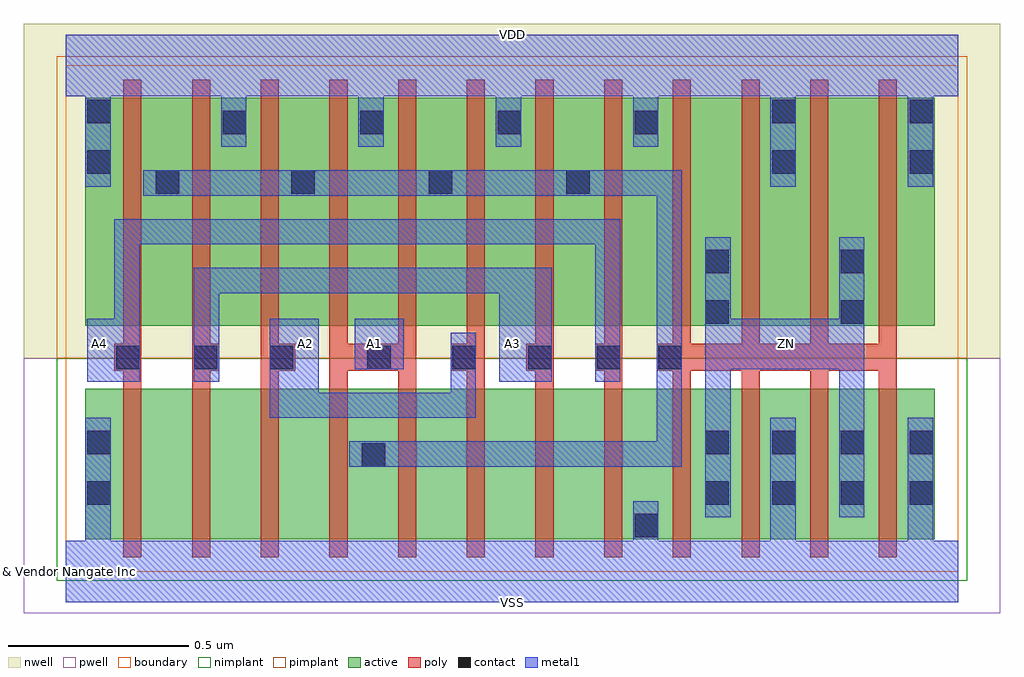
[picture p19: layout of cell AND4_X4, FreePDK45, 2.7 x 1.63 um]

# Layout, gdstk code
import gdstk
lib = gdstk.Library(unit=1e-6, precision=1e-10)
def R(c, l, rs):  # rectangles x0, y0, x1, y1
    for r in rs: c.add(gdstk.rectangle(r[:2], r[2:], *l))
def A(c, l, x, y, w, h, nx, ny, dx, dy):  # array of equal rectangles
    R(c, l, [(x+i*dx, y+j*dy, x+i*dx+w, y+j*dy+h) for i in range(nx) for j in range(ny)])
def P(c, l, *ps):  # polygons
    for p in ps: c.add(gdstk.Polygon(p, *l))
active = (1, 0)
pwell = (2, 0)
nwell = (3, 0)
nimplant = (4, 0)
pimplant = (5, 0)
poly = (9, 0)
contact = (10, 0)
metal1 = (11, 0)
boundary = (235, 0)

and4_x4 = lib.new_cell('AND4_X4')
R(and4_x4, active, [(0.055,0.09,2.405,0.505), (0.055,0.68,2.405,1.31)])
R(and4_x4, pwell, [(-0.115,-0.115,2.585,0.59)])
R(and4_x4, nwell, [(-0.115,0.59,2.585,1.515)])
R(and4_x4, nimplant, [(-0.025,-0.025,2.495,0.59)])
R(and4_x4, pimplant, [(-0.025,0.59,2.495,1.425)])
P(and4_x4, poly, [(0.16,0.04),(0.16,0.555),(0.135,0.555),(0.135,0.63),(0.16,0.63),(0.16,1.36),(0.21,1.36),(0.21,0.04)],
  [(0.35,0.04),(0.35,1.36),(0.4,1.36),(0.4,0.63),(0.425,0.63),(0.425,0.555),(0.4,0.555),(0.4,0.04)],
  [(0.54,0.04),(0.54,1.36),(0.59,1.36),(0.59,0.63),(0.635,0.63),(0.635,0.555),(0.59,0.555),(0.59,0.04)],
  [(0.73,0.04),(0.73,1.36),(0.78,1.36),(0.78,0.63),(0.92,0.63),(0.92,1.36),(0.97,1.36),(0.97,0.04),(0.92,0.04),(0.92,0.555),(0.78,0.555),(0.78,0.04)],
  [(1.11,0.04),(1.11,0.555),(1.065,0.555),(1.065,0.63),(1.11,0.63),(1.11,1.36),(1.16,1.36),(1.16,0.04)],
  [(1.3,0.04),(1.3,0.555),(1.275,0.555),(1.275,0.63),(1.3,0.63),(1.3,1.36),(1.35,1.36),(1.35,0.04)],
  [(1.49,0.04),(1.49,0.555),(1.465,0.555),(1.465,0.63),(1.49,0.63),(1.49,1.36),(1.54,1.36),(1.54,0.04)],
  [(1.68,0.04),(1.68,0.555),(1.635,0.555),(1.635,0.63),(1.68,0.63),(1.68,1.36),(1.73,1.36),(1.73,0.63),(1.87,0.63),(1.87,1.36),(1.92,1.36),(1.92,0.63),(2.06,0.63),(2.06,1.36),(2.11,1.36),(2.11,0.63),(2.25,0.63),(2.25,1.36),(2.3,1.36),(2.3,0.04),(2.25,0.04),(2.25,0.555),(2.11,0.555),(2.11,0.04),(2.06,0.04),(2.06,0.555),(1.92,0.555),(1.92,0.04),(1.87,0.04),(1.87,0.555),(1.73,0.555),(1.73,0.04)])
A(and4_x4, contact, 1.955, 0.185, 0.065, 0.065, 3, 2, 0.19, 0.14)
A(and4_x4, contact, 0.625, 1.045, 0.065, 0.065, 3, 1, 0.38, 0)
A(and4_x4, contact, 0.435, 1.21, 0.065, 0.065, 4, 1, 0.38, 0)
R(and4_x4, contact, [(1.575,0.095,1.64,0.16), (0.06,0.185,0.125,0.25), (1.77,0.185,1.835,0.25), (0.82,0.29,0.885,0.355), (0.06,0.325,0.125,0.39), (1.77,0.325,1.835,0.39), (0.14,0.56,0.205,0.625), (0.355,0.56,0.42,0.625), (0.565,0.56,0.63,0.625), (0.835,0.56,0.9,0.625), (1.07,0.56,1.135,0.625), (1.28,0.56,1.345,0.625), (1.47,0.56,1.535,0.625), (1.64,0.56,1.705,0.625), (1.77,0.685,1.835,0.75), (2.145,0.685,2.21,0.75), (1.77,0.825,1.835,0.89), (2.145,0.825,2.21,0.89), (0.25,1.045,0.315,1.11), (0.06,1.1,0.125,1.165), (1.955,1.1,2.02,1.165), (2.335,1.1,2.4,1.165), (0.06,1.24,0.125,1.305), (1.955,1.24,2.02,1.305), (2.335,1.24,2.4,1.305)])
R(and4_x4, metal1, [(0.8,0.56,0.935,0.7)])
P(and4_x4, metal1, [(0.565,0.425),(0.565,0.7),(0.7,0.7),(0.7,0.495),(1.065,0.495),(1.065,0.66),(1.135,0.66),(1.135,0.425)],
  [(0.355,0.525),(0.355,0.84),(1.345,0.84),(1.345,0.525),(1.2,0.525),(1.2,0.77),(0.425,0.77),(0.425,0.525)],
  [(0.06,0.525),(0.06,0.7),(0.135,0.7),(0.135,0.975),(1.535,0.975),(1.535,0.525),(1.465,0.525),(1.465,0.905),(0.205,0.905),(0.205,0.525)],
  [(0.785,0.29),(0.785,0.36),(1.635,0.36),(1.635,1.04),(0.215,1.04),(0.215,1.11),(1.705,1.11),(1.705,0.29)],
  [(1.77,0.15),(1.77,0.925),(1.84,0.925),(1.84,0.7),(2.14,0.7),(2.14,0.925),(2.21,0.925),(2.21,0.15),(2.14,0.15),(2.14,0.56),(1.84,0.56),(1.84,0.15)],
  [(0,-0.085),(0,0.085),(0.055,0.085),(0.055,0.425),(0.125,0.425),(0.125,0.085),(1.57,0.085),(1.57,0.195),(1.64,0.195),(1.64,0.085),(1.95,0.085),(1.95,0.425),(2.02,0.425),(2.02,0.085),(2.33,0.085),(2.33,0.425),(2.4,0.425),(2.4,0.085),(2.47,0.085),(2.47,-0.085)],
  [(0.055,1.065),(0.055,1.315),(0,1.315),(0,1.485),(2.47,1.485),(2.47,1.315),(2.4,1.315),(2.4,1.065),(2.33,1.065),(2.33,1.315),(2.02,1.315),(2.02,1.065),(1.95,1.065),(1.95,1.315),(1.64,1.315),(1.64,1.175),(1.57,1.175),(1.57,1.315),(1.26,1.315),(1.26,1.175),(1.19,1.175),(1.19,1.315),(0.88,1.315),(0.88,1.175),(0.81,1.175),(0.81,1.315),(0.5,1.315),(0.5,1.175),(0.43,1.175),(0.43,1.315),(0.125,1.315),(0.125,1.065)])
R(and4_x4, boundary, [(0,0,2.47,1.4)])
and4_x4.add(gdstk.Label('A1', (0.855,0.63), layer=11, texttype=0))
and4_x4.add(gdstk.Label('A2', (0.665,0.63), layer=11, texttype=0))
and4_x4.add(gdstk.Label('A3', (1.235,0.63), layer=11, texttype=0))
and4_x4.add(gdstk.Label('A4', (0.095,0.63), layer=11, texttype=0))
and4_x4.add(gdstk.Label('VDD', (1.235,1.485), layer=11, texttype=0))
and4_x4.add(gdstk.Label('VSS', (1.235,-0.085), layer=11, texttype=0))
and4_x4.add(gdstk.Label('ZN', (1.995,0.63), layer=11, texttype=0))
and4_x4.add(gdstk.Label('& Vendor Nangate Inc', (0,0), layer=63, texttype=63))
and4_x4.add(gdstk.Label('& Product Open Cell Library', (0,0), layer=63, texttype=63))
and4_x4.add(gdstk.Label('& Version 2010_12', (0,0), layer=63, texttype=63))
and4_x4.add(gdstk.Label('& Instance AND4_X4', (0,0), layer=63, texttype=63))

lib.write_gds('AND4_X4.gds')
